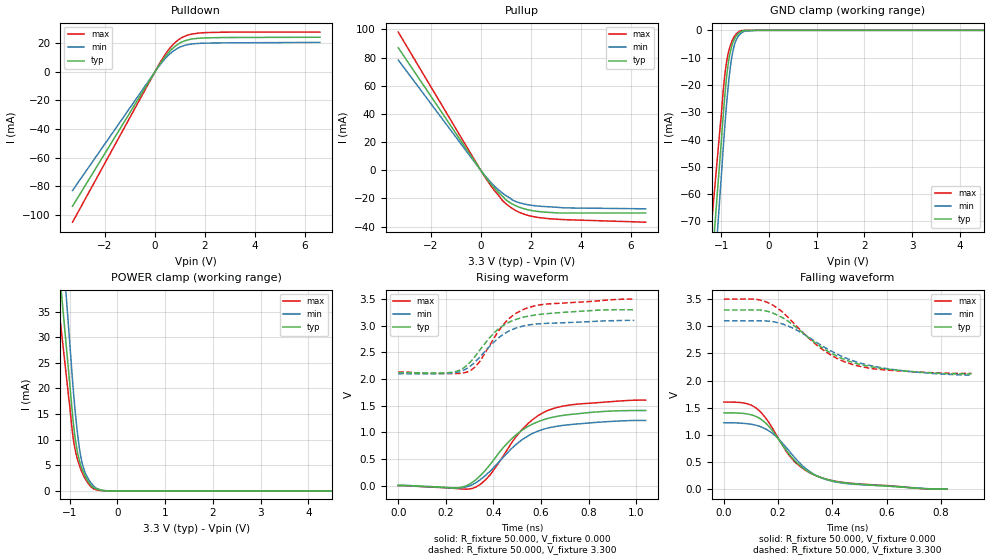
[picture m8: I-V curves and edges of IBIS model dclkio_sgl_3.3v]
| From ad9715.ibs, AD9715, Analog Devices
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[Model]   dclkio_sgl_3.3v
Model_type I/O
Vinl=9.900E-01
Vinh=2.310E+00
Vref=0.000E+00
Rref=1.000E+06
Cref=0.000E+00
Vmeas=1.650E+00
C_comp   6.290E-13   6.240E-13   6.330E-13
[Voltage Range]   3.300E+00   3.100E+00   3.500E+00
[POWER Clamp Reference]   3.300E+00   3.100E+00   3.500E+00
[GND Clamp Reference]   0.000E+00   0.000E+00   0.000E+00
[Pullup Reference]   3.300E+00   3.100E+00   3.500E+00
[Pulldown Reference]   0.000E+00   0.000E+00   0.000E+00
[Temperature Range]   25   85   -40
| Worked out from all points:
|   slope of the pulldown table from 0 to 0.495 V, typ, clamps not added: 39.7 ohm
|   slope of the pullup table from 0 to 0.495 V, typ, clamps not added: 42.7 ohm
|   GND clamp passes 1 mA (typ) near -0.63 V on its own axis
|   POWER clamp passes 1 mA (typ) near -0.54 V on its own axis
|   rising waveform, R_fixture 50.000, V_fixture 0.000: 20-80 % time 187ps typ, 185ps min, 173ps max; typ from 0.008 V to 1.41 V
|   falling waveform, R_fixture 50.000, V_fixture 0.000: 20-80 % time 156ps typ, 153ps min, 151ps max; typ from 1.41 V to 0 V
|   rising waveform, R_fixture 50.000, V_fixture 3.300: 20-80 % time 155ps typ, 147ps min, 140ps max; typ from 2.12 V to 3.3 V
|   falling waveform, R_fixture 50.000, V_fixture 3.300: 20-80 % time 217ps typ, 242ps min, 194ps max; typ from 3.3 V to 2.12 V
[GND Clamp]
-3.3V     -568.7mA   -630.2mA   -485mA
-1.02V    -46.11mA   -59.41mA   -35.28mA
-940mV    -27.62mA   -39.29mA   -19.26mA
-900mV    -19.68mA   -30.07mA   -13.23mA
-860mV    -13.44mA   -22.02mA   -9.103mA
-800mV    -7.291mA   -12.58mA   -5.238mA
-760mV    -4.831mA   -8.244mA   -3.492mA
-720mV    -3.157mA   -5.286mA   -2.172mA
-600mV    -642.4uA   -1.337mA   -249.8uA
-500mV    -75.23uA   -311.2uA   -1.735uA
-260mV    0A         0A         0A
6.6V      0A         0A         0A
[Power Clamp]
-3.3V     255.3mA    314.6mA    211.1mA
-1.02V    23.01mA    31.46mA    18.14mA
-940mV    14.78mA    21.46mA    11.25mA
-900mV    11.3mA     17mA       8.706mA
-840mV    7.652mA    11.48mA    6.27mA
-780mV    5.359mA    7.328mA    4.538mA
-740mV    4.289mA    5.466mA    3.593mA
-680mV    2.971mA    3.632mA    2.457mA
-500mV    615.5uA    952.8uA    421.3uA
-340mV    190.2uA    135.2uA    47.92uA
-200mV    0A         0A         0A
6.6V      0A         0A         0A
[Pullup]
-3.3V     86.99mA    78.25mA    98.09mA
80mV      -2.005mA   -1.836mA   -2.317mA
360mV     -8.752mA   -7.707mA   -9.813mA
600mV     -13.7mA    -12.16mA   -15.52mA
860mV     -18.26mA   -16.08mA   -21.28mA
1.04V     -21.42mA   -18.33mA   -24.24mA
1.28V     -24.15mA   -21.26mA   -27.33mA
1.64V     -26.84mA   -23.53mA   -30.59mA
2.3V      -29.28mA   -25.45mA   -33.54mA
3.1V      -30.36mA   -26.38mA   -34.83mA
6.6V      -30.39mA   -27.38mA   -36.89mA
[Pulldown]
-3.3V     -93.83mA   -82.87mA   -105mA
180mV     4.983mA    4.349mA    5.677mA
420mV     10.84mA    9.422mA    12.38mA
600mV     14.54mA    12.59mA    16.62mA
900mV     18.98mA    16.35mA    21.79mA
1.12V     21.12mA    18.03mA    24.21mA
1.32V     22.25mA    18.96mA    25.59mA
2.04V     23.64mA    19.99mA    27.33mA
6.6V      24.09mA    20.49mA    27.68mA
[Rising Waveform]
R_fixture = 50.000
V_fixture = 0.000
V_fixture_min = 0.000
V_fixture_max = 0.000
|  time   V(typ)   V(min)   V(max)
0s        8.172mV    0V         0V
245ps     -42.71mV   -43.64mV   -55.24mV
315ps     72.47mV    25.7mV     -47.18mV
350ps     209.6mV    129.3mV    41.79mV
387.5ps   402.6mV    276mV      207.9mV
482.5ps   901.7mV    720.9mV    840.8mV
547.5ps   1.115V     938mV      1.172V
610ps     1.236V     1.057V     1.371V
735ps     1.34V      1.15V      1.52V
1.04ns    1.409V     1.223V     1.603V
[Falling Waveform]
R_fixture = 50.000
V_fixture = 0.000
V_fixture_min = 0.000
V_fixture_max = 0.000
|  time   V(typ)   V(min)   V(max)
0s        1.405V     1.223V     1.603V
80ps      1.389V     1.209V     1.58V
122.5ps   1.329V     1.172V     1.479V
155ps     1.213V     1.106V     1.304V
177.5ps   1.085V     1.033V     1.135V
250ps     586.9mV    645.3mV    564.6mV
292.5ps   385.7mV    419.1mV    375.1mV
342.5ps   244.2mV    245.7mV    242.1mV
455ps     110.9mV    101.5mV    116mV
822.5ps   0V         0V         0V
[Rising Waveform]
R_fixture = 50.000
V_fixture = 3.300
V_fixture_min = 3.100
V_fixture_max = 3.500
|  time   V(typ)   V(min)   V(max)
0s        2.122V     2.099V     2.132V
227.5ps   2.126V     2.113V     2.101V
270ps     2.193V     2.157V     2.111V
300ps     2.305V     2.231V     2.152V
342.5ps   2.54V      2.409V     2.327V
420ps     2.936V     2.766V     2.892V
475ps     3.084V     2.92V      3.169V
550ps     3.182V     3.015V     3.344V
635ps     3.23V      3.047V     3.411V
992.5ps   3.3V       3.1V       3.5V
[Falling Waveform]
R_fixture = 50.000
V_fixture = 3.300
V_fixture_min = 3.100
V_fixture_max = 3.500
|  time   V(typ)   V(min)   V(max)
0s        3.3V       3.1V       3.5V
117.5ps   3.302V     3.101V     3.496V
172.5ps   3.258V     3.091V     3.411V
217.5ps   3.153V     3.04V      3.256V
262.5ps   2.996V     2.945V     3.03V
357.5ps   2.622V     2.654V     2.594V
415ps     2.453V     2.492V     2.413V
472.5ps   2.338V     2.37V      2.299V
662.5ps   2.178V     2.18V      2.173V
912.5ps   2.122V     2.099V     2.132V
[Ramp]
dV/dt_r   8.4073E-01/1.8721E-10   7.2457E-01/1.8470E-10   9.6222E-01/1.7124E-10
dV/dt_f   7.0698E-01/2.1601E-10   6.0032E-01/2.4086E-10   8.2097E-01/1.9410E-10
R_load = 50
